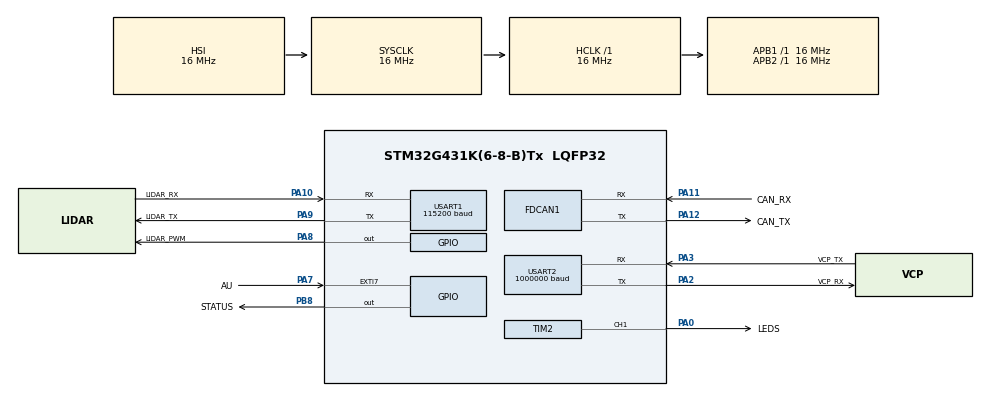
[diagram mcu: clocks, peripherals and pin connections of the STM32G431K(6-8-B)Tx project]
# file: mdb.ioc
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Dma.Request0=USART1_RX
Dma.USART1_RX.0.Direction=DMA_PERIPH_TO_MEMORY
Dma.USART1_RX.0.EventEnable=DISABLE
Dma.USART1_RX.0.Instance=DMA1_Channel1
Dma.USART1_RX.0.MemDataAlignment=DMA_MDATAALIGN_BYTE
Dma.USART1_RX.0.MemInc=DMA_MINC_ENABLE
Dma.USART1_RX.0.Mode=DMA_CIRCULAR
Dma.USART1_RX.0.PeriphDataAlignment=DMA_PDATAALIGN_BYTE
Dma.USART1_RX.0.PeriphInc=DMA_PINC_DISABLE
Dma.USART1_RX.0.Polarity=HAL_DMAMUX_REQ_GEN_RISING
Dma.USART1_RX.0.Priority=DMA_PRIORITY_LOW
Dma.USART1_RX.0.RequestNumber=1
Dma.USART1_RX.0.SignalID=NONE
Dma.USART1_RX.0.SyncEnable=DISABLE
Dma.USART1_RX.0.SyncPolarity=HAL_DMAMUX_SYNC_NO_EVENT
Dma.USART1_RX.0.SyncRequestNumber=1
Dma.USART1_RX.0.SyncSignalID=NONE
FDCAN1.CalculateBaudRateNominal=200000
FDCAN1.CalculateTimeBitNominal=5000
FDCAN1.CalculateTimeQuantumNominal=1000.0
Mcu.Family=STM32G4
Mcu.Name=STM32G431K(6-8-B)Tx
Mcu.Package=LQFP32
NVIC.DMA1_Channel1_IRQn=true\:0\:0\:false\:false\:true\:false\:true\:true
NVIC.PriorityGroup=NVIC_PRIORITYGROUP_4
NVIC.USART1_IRQn=true\:0\:0\:false\:false\:true\:true\:true\:true
NimaLTD.I-CUBE-RBUF.2.2.0.DriverJjRBUF=true
PA0.GPIO_Label=LEDS
PA0.Signal=S_TIM2_CH1
PA10.GPIO_Label=LIDAR_RX
PA10.Mode=Asynchronous
PA10.Signal=USART1_RX
PA11.GPIO_Label=CAN_RX
PA11.Mode=FDCAN_Activate
PA11.Signal=FDCAN1_RX
PA12.GPIO_Label=CAN_TX
PA12.Mode=FDCAN_Activate
PA12.Signal=FDCAN1_TX
PA13.GPIO_Label=T_SWDIO
PA13.Mode=Trace_Asynchronous_SW
PA13.Signal=SYS_JTMS-SWDIO
PA14.GPIO_Label=T_SWCLK
PA14.Mode=Trace_Asynchronous_SW
PA14.Signal=SYS_JTCK-SWCLK
PA2.GPIO_Label=VCP_RX
PA2.Mode=Asynchronous
PA2.Signal=USART2_TX
PA3.GPIO_Label=VCP_TX
PA3.Mode=Asynchronous
PA3.Signal=USART2_RX
PA7.GPIO_Label=AU
PA7.GPIO_PuPd=GPIO_PULLDOWN
PA7.Signal=GPXTI7
PA8.GPIO_Label=LIDAR_PWM
PA8.Signal=GPIO_Output
PA9.GPIO_Label=LIDAR_TX
PA9.Mode=Asynchronous
PA9.Signal=USART1_TX
PB3.GPIO_Label=T_SWO
PB3.Mode=Trace_Asynchronous_SW
PB3.Signal=SYS_JTDO-SWO
PB8-BOOT0.GPIO_Label=STATUS
PB8-BOOT0.Signal=GPIO_Output
ProjectManager.HeapSize=0x200
ProjectManager.StackSize=0x400
ProjectManager.TargetToolchain=STM32CubeIDE
RCC.ADC12Freq_Value=16000000
RCC.AHBFreq_Value=16000000
RCC.APB1Freq_Value=16000000
RCC.APB1TimFreq_Value=16000000
RCC.APB2Freq_Value=16000000
RCC.APB2TimFreq_Value=16000000
RCC.CortexFreq_Value=16000000
RCC.EXTERNAL_CLOCK_VALUE=12288000
RCC.HCLKFreq_Value=16000000
RCC.HSE_VALUE=8000000
RCC.HSI48_VALUE=48000000
RCC.HSI_VALUE=16000000
RCC.LSE_VALUE=32768
RCC.SYSCLKFreq_VALUE=16000000
RCC.USBFreq_Value=64000000
RCC.VCOOutputFreq_Value=128000000
SH.S_TIM2_CH1.0=TIM2_CH1,PWM Generation1 CH1
TIM2.Channel-PWM\ Generation1\ CH1=TIM_CHANNEL_1
USART1.BaudRate=115200
USART1.RxPinLevelInvertParam=ADVFEATURE_RXINV_DISABLE
USART1.TxPinLevelInvertParam=ADVFEATURE_TXINV_DISABLE
USART1.VirtualMode-Asynchronous=VM_ASYNC
USART2.BaudRate=1000000
USART2.VirtualMode-Asynchronous=VM_ASYNC
USART2.WordLength=WORDLENGTH_8B
VP_NimaLTD.I-CUBE-RBUF_VS_DriverJjRBUF_1.0.0_2.2.0.Mode=DriverJjRBUF
VP_SYS_VS_DBSignals.Mode=DisableDeadBatterySignals
board=NUCLEO-G431KB

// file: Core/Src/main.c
/* USER CODE BEGIN Header */
/**
  ******************************************************************************
  * @file           : main.c
  * @brief          : Main program body
  ******************************************************************************
  * @attention
  *
  * Copyright (c) 2024 STMicroelectronics.
  * All rights reserved.
  *
  * This software is licensed under terms that can be found in the LICENSE file
  * in the root directory of this software component.
  * If no LICENSE file comes with this software, it is provided AS-IS.
  *
  ******************************************************************************
  */
/* USER CODE END Header */
#include "main.h"

/* USER CODE BEGIN Includes */
#include <stdio.h>
#include "rplidar.h"
#include "rbuf.h"
//#include "ringbuffer.h"
#include "byteswap.h"
/* USER CODE END Includes */

FDCAN_HandleTypeDef hfdcan1;

TIM_HandleTypeDef htim2;

UART_HandleTypeDef huart1;
UART_HandleTypeDef huart2;
DMA_HandleTypeDef hdma_usart1_rx;

void SystemClock_Config(void);
static void MX_GPIO_Init(void);
static void MX_DMA_Init(void);
static void MX_FDCAN1_Init(void);
static void MX_TIM2_Init(void);
static void MX_USART1_UART_Init(void);
static void MX_USART2_UART_Init(void);

/* USER CODE BEGIN 0 */
RBUF_HandleTypeDef *rbuf;

//volatile uint8_t UART1_rxBuffer[1024] = {0};
//ringbuffer_t ringBuffer;

//void HAL_UART_RxCpltCallback(UART_HandleTypeDef *huart) {
//	ringbuffer_dma_add_overflow(&ringBuffer);
////	printf("reste: %u\n\r", (unsigned)(512 - huart1.hdmarx->Instance->CNDTR));
//}
//
void ringbuffer_read_exactly(uint8_t *data, uint32_t max_size) {
	uint32_t i = 0;

	while (i < max_size) {
		if (RBUF_Available(rbuf)) {
			RBUF_Pop(rbuf, &data[i++]);
		}
//		ringbuffer_dma_set_written_size(buffer, 512 - huart1.hdmarx->Instance->CNDTR);
//		i += ringbuffer_read(buffer, &data[i], max_size - i);
	}
}

request scan_request;
descriptor scan_desc;
scan_data frame;
/* USER CODE END 0 */

int main(void)
{

  /* MCU Configuration--------------------------------------------------------*/

  /* Reset of all peripherals, Initializes the Flash interface and the Systick. */
  HAL_Init();

  /* Configure the system clock */
  SystemClock_Config();

  /* Initialize all configured peripherals */
  MX_GPIO_Init();
  MX_DMA_Init();
  MX_FDCAN1_Init();
  MX_TIM2_Init();
  MX_USART1_UART_Init();
  MX_USART2_UART_Init();
  /* USER CODE BEGIN 2 */

  rbuf = RBUF_Init(1, 1024);

  // init ringbuffer and DMA receiving
//  ringbuffer_init(&ringBuffer, UART1_rxBuffer, 512);
//  HAL_UART_Receive_DMA(&huart1, UART1_rxBuffer, 512);

  HAL_GPIO_WritePin(LIDAR_PWM_GPIO_Port, LIDAR_PWM_Pin, 0);

  char on[]  	= "On";
  char off[] 	= "Off";
  char error[]	= "Error";
  char req[]	= "Request";
  char desc[] 	= "Descriptor";
  char scan[] 	= "Scanning";

  enum state_scan state_lidar = STANDBY;

  scan_data sample[1000];
  uint16_t index = 0;
  /* USER CODE END 2 */

  /* Infinite loop */
  while (1)
  {

    /* USER CODE BEGIN 3 */
	  if (HAL_GPIO_ReadPin(AU_GPIO_Port, AU_Pin) != GPIO_PIN_RESET) {
		  switch (state_lidar)
		  {
		  case STANDBY:
			  // Start Lidar rotation (PWM pin -> on)
			  printf("%s\n\r", on);
			  HAL_GPIO_WritePin(LIDAR_PWM_GPIO_Port, LIDAR_PWM_Pin, GPIO_PIN_SET);

			  state_lidar = REQUEST;
			  break;

		  case REQUEST:
			  // Request
			  printf("%s\n\r", req);
			  scan_request.start_flag = START_FLAG1;
			  scan_request.command = SCAN;
			  HAL_UART_Transmit(&huart1, (uint8_t *)&scan_request, sizeof(scan_request), 100);

			  state_lidar = DESCRIPTOR;
			  break;

		  case DESCRIPTOR:
			  // Read descriptor
			  printf("%s\n\r", desc);
			  ringbuffer_read_exactly((uint8_t *)&scan_desc, sizeof(scan_desc));

			  // Check descriptor fields
			  if (scan_desc.start_flag1 != START_FLAG1){
				  printf("%s: start1\n\r", error);
				  state_lidar = REQUEST;
			  }
			  else if (scan_desc.start_flag2 != START_FLAG2) {
				  printf("%s: start2\n\r", error);
				  state_lidar = REQUEST;
			  }
			  else if (scan_desc.res_length_mode != RES_LENGTH_MODE) {
				  printf("%s: length\n\r", error);
				  state_lidar = REQUEST;
			  }
			  else if (scan_desc.type != DATA_TYPE) {
				  printf("%s: type\n\r", error);
				  state_lidar = REQUEST;
			  }
			  else {
				  state_lidar = SCANNING; // Everything fine !
			  }

			  break;

		  case SCANNING:
			  HAL_Delay(1);
//			  printf("%s\n\r", scan);
			  ringbuffer_read_exactly((uint8_t *)&frame, sizeof(frame));
//			  frame.angle_q6 = swap_uint16(frame.angle_q6);
//			  frame.distance_q2 = swap_uint16(frame.distance_q2);
//			  printf("angle: %u\n\r", (unsigned)(frame.angle_q6));
//			  break;
			  // Check S, _S and C check bits
			  if (!CHECK_BIT(frame.angle_q6, 0)) {
				  printf("%s: C check bit\n\r", error);
				  state_lidar = REQUEST;
			  }
			  else if (CHECK_BIT(frame.quality, 0) == CHECK_BIT(frame.quality, 1)) {
				  printf("%s: S check bits unsynch\n\r", error);
				  state_lidar = REQUEST;
			  }
			  else {
				  // Send sample if 1st sample (S=1)
				  if (CHECK_BIT(frame.quality, 0)) {
					  // Interrupt sample
					  index = 0;
					  sample[index++] = frame;
				  }
				  else
					  sample[index++] = frame;
			  }

			  break;

		  default:
			  printf("%s\n\r", error);
			  state_lidar = REQUEST;

			  break;
		  }

		  // start scanning
//		  scan_data res_data;
//		  HAL_Delay(500);
//
//		  while (HAL_GPIO_ReadPin(AU_GPIO_Port, AU_Pin)) {
//			  get_res_data(&huart1, (uint8_t *)&res_data, &res_desc);
//			  HAL_Delay(100);
//			  HAL_UART_Transmit(&huart2, (uint8_t *)&res_data, (uint16_t)sizeof(res_data), 500);
//			  HAL_Delay(100);
//			  HAL_UART_Transmit(&huart2, (uint8_t *)"\n\r", 2, 500);
//			  HAL_Delay(100);
//		  }
		  if (HAL_GPIO_ReadPin(AU_GPIO_Port, AU_Pin) == GPIO_PIN_RESET) {
			  printf("%s\n\r", off);
			  HAL_GPIO_WritePin(LIDAR_PWM_GPIO_Port, LIDAR_PWM_Pin, GPIO_PIN_RESET);
			  stop(&huart1);
			  state_lidar = STANDBY;
		  }
	  }
  }

  /* USER CODE END 3 */
}

void SystemClock_Config(void)
{
  RCC_OscInitTypeDef RCC_OscInitStruct = {0};
  RCC_ClkInitTypeDef RCC_ClkInitStruct = {0};

  /** Configure the main internal regulator output voltage
  */
  HAL_PWREx_ControlVoltageScaling(PWR_REGULATOR_VOLTAGE_SCALE1);

  /** Initializes the RCC Oscillators according to the specified parameters
  * in the RCC_OscInitTypeDef structure.
  */
  RCC_OscInitStruct.OscillatorType = RCC_OSCILLATORTYPE_HSI;
  RCC_OscInitStruct.HSIState = RCC_HSI_ON;
  RCC_OscInitStruct.HSICalibrationValue = RCC_HSICALIBRATION_DEFAULT;
  RCC_OscInitStruct.PLL.PLLState = RCC_PLL_NONE;
  if (HAL_RCC_OscConfig(&RCC_OscInitStruct) != HAL_OK)
  {
    Error_Handler();
  }

  /** Initializes the CPU, AHB and APB buses clocks
  */
  RCC_ClkInitStruct.ClockType = RCC_CLOCKTYPE_HCLK|RCC_CLOCKTYPE_SYSCLK
                              |RCC_CLOCKTYPE_PCLK1|RCC_CLOCKTYPE_PCLK2;
  RCC_ClkInitStruct.SYSCLKSource = RCC_SYSCLKSOURCE_HSI;
  RCC_ClkInitStruct.AHBCLKDivider = RCC_SYSCLK_DIV1;
  RCC_ClkInitStruct.APB1CLKDivider = RCC_HCLK_DIV1;
  RCC_ClkInitStruct.APB2CLKDivider = RCC_HCLK_DIV1;

  if (HAL_RCC_ClockConfig(&RCC_ClkInitStruct, FLASH_LATENCY_0) != HAL_OK)
  {
    Error_Handler();
  }
}

static void MX_FDCAN1_Init(void)
{

  hfdcan1.Instance = FDCAN1;
  hfdcan1.Init.ClockDivider = FDCAN_CLOCK_DIV1;
  hfdcan1.Init.FrameFormat = FDCAN_FRAME_CLASSIC;
  hfdcan1.Init.Mode = FDCAN_MODE_NORMAL;
  hfdcan1.Init.AutoRetransmission = DISABLE;
  hfdcan1.Init.TransmitPause = DISABLE;
  hfdcan1.Init.ProtocolException = DISABLE;
  hfdcan1.Init.NominalPrescaler = 16;
  hfdcan1.Init.NominalSyncJumpWidth = 1;
  hfdcan1.Init.NominalTimeSeg1 = 2;
  hfdcan1.Init.NominalTimeSeg2 = 2;
  hfdcan1.Init.DataPrescaler = 1;
  hfdcan1.Init.DataSyncJumpWidth = 1;
  hfdcan1.Init.DataTimeSeg1 = 1;
  hfdcan1.Init.DataTimeSeg2 = 1;
  hfdcan1.Init.StdFiltersNbr = 0;
  hfdcan1.Init.ExtFiltersNbr = 0;
  hfdcan1.Init.TxFifoQueueMode = FDCAN_TX_FIFO_OPERATION;
  if (HAL_FDCAN_Init(&hfdcan1) != HAL_OK)
  {
    Error_Handler();
  }

}

static void MX_TIM2_Init(void)
{

  TIM_MasterConfigTypeDef sMasterConfig = {0};
  TIM_OC_InitTypeDef sConfigOC = {0};

  htim2.Instance = TIM2;
  htim2.Init.Prescaler = 0;
  htim2.Init.CounterMode = TIM_COUNTERMODE_UP;
  htim2.Init.Period = 4.294967295E9;
  htim2.Init.ClockDivision = TIM_CLOCKDIVISION_DIV1;
  htim2.Init.AutoReloadPreload = TIM_AUTORELOAD_PRELOAD_DISABLE;
  if (HAL_TIM_PWM_Init(&htim2) != HAL_OK)
  {
    Error_Handler();
  }
  sMasterConfig.MasterOutputTrigger = TIM_TRGO_RESET;
  sMasterConfig.MasterSlaveMode = TIM_MASTERSLAVEMODE_DISABLE;
  if (HAL_TIMEx_MasterConfigSynchronization(&htim2, &sMasterConfig) != HAL_OK)
  {
    Error_Handler();
  }
  sConfigOC.OCMode = TIM_OCMODE_PWM1;
  sConfigOC.Pulse = 0;
  sConfigOC.OCPolarity = TIM_OCPOLARITY_HIGH;
  sConfigOC.OCFastMode = TIM_OCFAST_DISABLE;
  if (HAL_TIM_PWM_ConfigChannel(&htim2, &sConfigOC, TIM_CHANNEL_1) != HAL_OK)
  {
    Error_Handler();
  }
  HAL_TIM_MspPostInit(&htim2);

}

static void MX_USART1_UART_Init(void)
{

  huart1.Instance = USART1;
  huart1.Init.BaudRate = 115200;
  huart1.Init.WordLength = UART_WORDLENGTH_8B;
  huart1.Init.StopBits = UART_STOPBITS_1;
  huart1.Init.Parity = UART_PARITY_NONE;
  huart1.Init.Mode = UART_MODE_TX_RX;
  huart1.Init.HwFlowCtl = UART_HWCONTROL_NONE;
  huart1.Init.OverSampling = UART_OVERSAMPLING_16;
  huart1.Init.OneBitSampling = UART_ONE_BIT_SAMPLE_DISABLE;
  huart1.Init.ClockPrescaler = UART_PRESCALER_DIV1;
  huart1.AdvancedInit.AdvFeatureInit = UART_ADVFEATURE_NO_INIT;
  if (HAL_UART_Init(&huart1) != HAL_OK)
  {
    Error_Handler();
  }
  if (HAL_UARTEx_SetTxFifoThreshold(&huart1, UART_TXFIFO_THRESHOLD_1_8) != HAL_OK)
  {
    Error_Handler();
  }
  if (HAL_UARTEx_SetRxFifoThreshold(&huart1, UART_RXFIFO_THRESHOLD_1_8) != HAL_OK)
  {
    Error_Handler();
  }
  if (HAL_UARTEx_DisableFifoMode(&huart1) != HAL_OK)
  {
    Error_Handler();
  }

}

static void MX_USART2_UART_Init(void)
{

  huart2.Instance = USART2;
  huart2.Init.BaudRate = 1000000;
  huart2.Init.WordLength = UART_WORDLENGTH_8B;
  huart2.Init.StopBits = UART_STOPBITS_1;
  huart2.Init.Parity = UART_PARITY_NONE;
  huart2.Init.Mode = UART_MODE_TX_RX;
  huart2.Init.HwFlowCtl = UART_HWCONTROL_NONE;
  huart2.Init.OverSampling = UART_OVERSAMPLING_16;
  huart2.Init.OneBitSampling = UART_ONE_BIT_SAMPLE_DISABLE;
  huart2.Init.ClockPrescaler = UART_PRESCALER_DIV1;
  huart2.AdvancedInit.AdvFeatureInit = UART_ADVFEATURE_NO_INIT;
  if (HAL_UART_Init(&huart2) != HAL_OK)
  {
    Error_Handler();
  }
  if (HAL_UARTEx_SetTxFifoThreshold(&huart2, UART_TXFIFO_THRESHOLD_1_8) != HAL_OK)
  {
    Error_Handler();
  }
  if (HAL_UARTEx_SetRxFifoThreshold(&huart2, UART_RXFIFO_THRESHOLD_1_8) != HAL_OK)
  {
    Error_Handler();
  }
  if (HAL_UARTEx_DisableFifoMode(&huart2) != HAL_OK)
  {
    Error_Handler();
  }

}

static void MX_DMA_Init(void)
{

  /* DMA controller clock enable */
  __HAL_RCC_DMAMUX1_CLK_ENABLE();
  __HAL_RCC_DMA1_CLK_ENABLE();

  /* DMA interrupt init */
  /* DMA1_Channel1_IRQn interrupt configuration */
  HAL_NVIC_SetPriority(DMA1_Channel1_IRQn, 0, 0);
  HAL_NVIC_EnableIRQ(DMA1_Channel1_IRQn);

}

static void MX_GPIO_Init(void)
{
  GPIO_InitTypeDef GPIO_InitStruct = {0};

  /* GPIO Ports Clock Enable */
  __HAL_RCC_GPIOA_CLK_ENABLE();
  __HAL_RCC_GPIOB_CLK_ENABLE();

  /*Configure GPIO pin Output Level */
  HAL_GPIO_WritePin(LIDAR_PWM_GPIO_Port, LIDAR_PWM_Pin, GPIO_PIN_RESET);

  /*Configure GPIO pin Output Level */
  HAL_GPIO_WritePin(STATUS_GPIO_Port, STATUS_Pin, GPIO_PIN_RESET);

  /*Configure GPIO pin : AU_Pin */
  GPIO_InitStruct.Pin = AU_Pin;
  GPIO_InitStruct.Mode = GPIO_MODE_IT_RISING;
  GPIO_InitStruct.Pull = GPIO_PULLDOWN;
  HAL_GPIO_Init(AU_GPIO_Port, &GPIO_InitStruct);

  /*Configure GPIO pin : LIDAR_PWM_Pin */
  GPIO_InitStruct.Pin = LIDAR_PWM_Pin;
  GPIO_InitStruct.Mode = GPIO_MODE_OUTPUT_PP;
  GPIO_InitStruct.Pull = GPIO_NOPULL;
  GPIO_InitStruct.Speed = GPIO_SPEED_FREQ_LOW;
  HAL_GPIO_Init(LIDAR_PWM_GPIO_Port, &GPIO_InitStruct);

  /*Configure GPIO pin : STATUS_Pin */
  GPIO_InitStruct.Pin = STATUS_Pin;
  GPIO_InitStruct.Mode = GPIO_MODE_OUTPUT_PP;
  GPIO_InitStruct.Pull = GPIO_NOPULL;
  GPIO_InitStruct.Speed = GPIO_SPEED_FREQ_LOW;
  HAL_GPIO_Init(STATUS_GPIO_Port, &GPIO_InitStruct);

}

void Error_Handler(void)
{
  __disable_irq();
  while (1)
  {
  }
}
